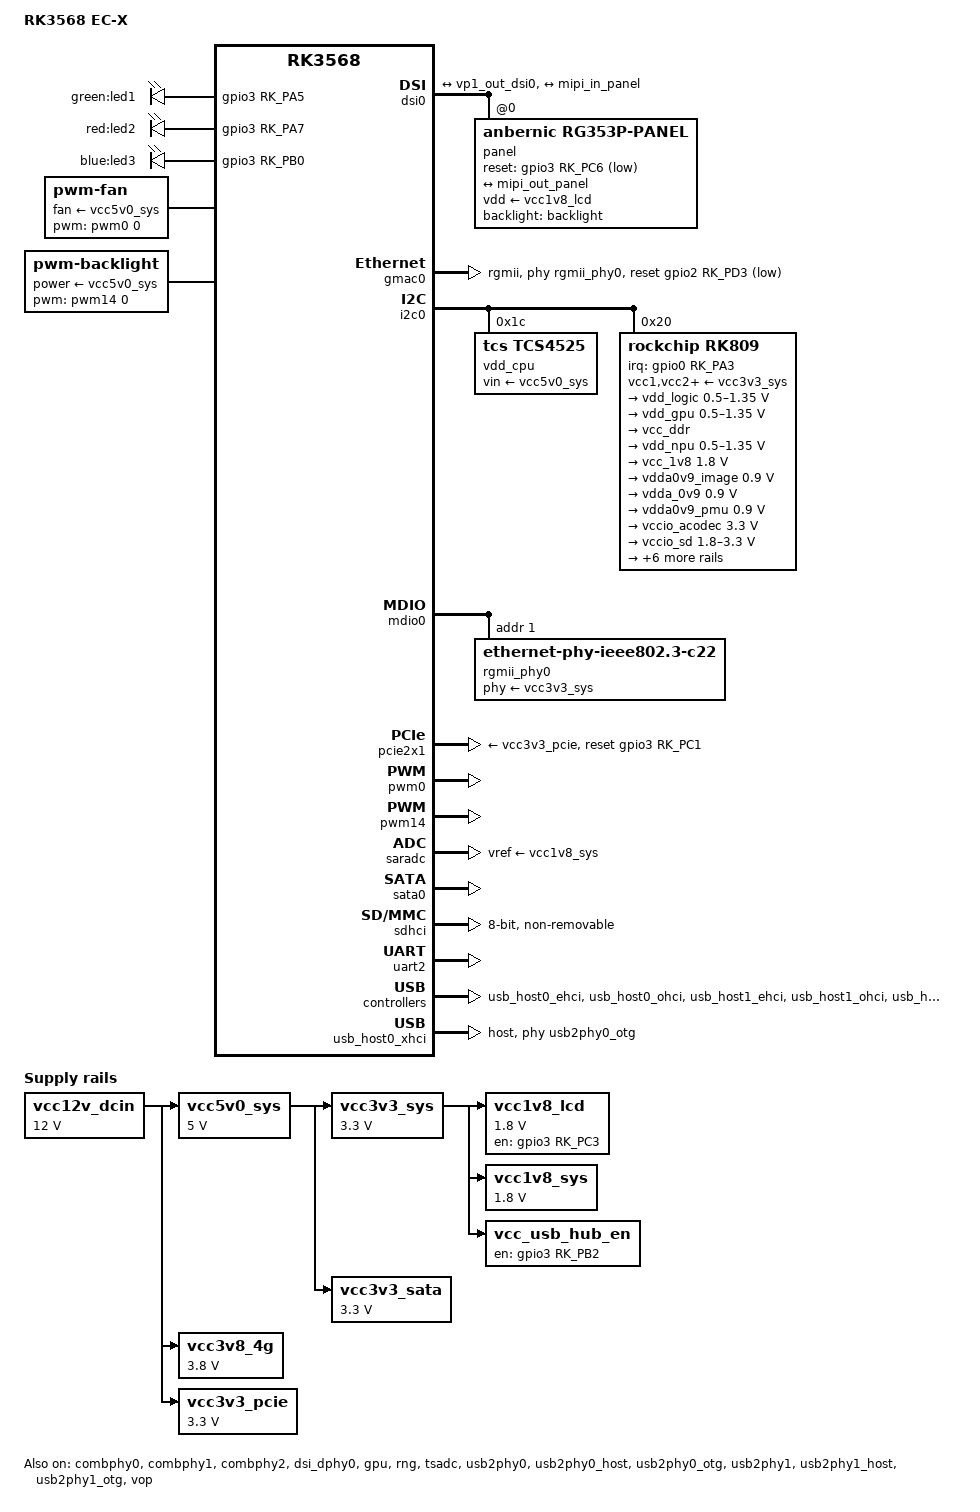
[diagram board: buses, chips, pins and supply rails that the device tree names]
// SPDX-License-Identifier: (GPL-2.0+ OR MIT)
// Copyright (c) 2023 Flippy <flippy@sina.com>

/dts-v1/;

#include <dt-bindings/gpio/gpio.h>
#include <dt-bindings/leds/common.h>
#include <dt-bindings/input/input.h>
#include <dt-bindings/pinctrl/rockchip.h>
#include <dt-bindings/soc/rockchip,vop2.h>
#include "rk3568.dtsi"

/ {
	model = "RK3568 EC-X";
	compatible = "rockchip,ec-x", "rockchip,rk3568";

	aliases {
		ethernet0 = &gmac0;
		mmc0 = &sdhci;
	};

	chosen: chosen {
		bootargs = "earlycon=uart8250,mmio32,0xfe660000 console=ttyS2,1500000";
	};

	reserved_memory: reserved-memory {
		#address-cells = <2>;
		#size-cells = <2>;
		ranges;

		cma: cma {
			compatible = "shared-dma-pool";
			reusable;
			size = <0x0 0x10000000>;
			linux,cma-default;
		};

		ramoops: ramoops@110000 {
			compatible = "ramoops";
			reg = <0x0 0x110000 0x0 0xf0000>;
			record-size = <0x20000>;
			console-size = <0x80000>;
			ftrace-size = <0x00000>;
			pmsg-size = <0x50000>;
		};
	};

	leds: leds {
		compatible = "gpio-leds";
		pinctrl-names = "default";
		pinctrl-0 = <&led_green_en>, <&led_red_en>, <&led_blue_en>;

		led_green: led-green {
			label = "green:led1";
			gpios = <&gpio3 RK_PA5 GPIO_ACTIVE_HIGH>;
		};

		led_red: led-red {
			label = "red:led2";
			gpios = <&gpio3 RK_PA7 GPIO_ACTIVE_HIGH>;
			linux,default-trigger = "heartbeat";
		};

		led_blue: led-blue {
			label = "blue:led3";
			gpios = <&gpio3 RK_PB0 GPIO_ACTIVE_HIGH>;
		};

	};

	vcc12v_dcin: vcc12v-dcin-regulator {
		compatible = "regulator-fixed";
		regulator-name = "vcc12v_dcin";
		regulator-always-on;
		regulator-boot-on;
		regulator-min-microvolt = <12000000>;
		regulator-max-microvolt = <12000000>;
	};

	vcc5v0_sys: vcc5v0-sys-regulator {
		compatible = "regulator-fixed";
		regulator-name = "vcc5v0_sys";
		regulator-always-on;
		regulator-boot-on;
		regulator-min-microvolt = <5000000>;
		regulator-max-microvolt = <5000000>;
		vin-supply = <&vcc12v_dcin>;
	};

	vcc3v8_4g: vcc3v8-4g-regulator {
		compatible = "regulator-fixed";
		regulator-name = "vcc3v8_4g";
		regulator-always-on;
		regulator-boot-on;
		regulator-min-microvolt = <3800000>;
		regulator-max-microvolt = <3800000>;
		vin-supply = <&vcc12v_dcin>;
	};

	vcc3v3_pcie: vcc3v3-pcie-regulator {
		compatible = "regulator-fixed";
		regulator-name = "vcc3v3_pcie";
		regulator-always-on;
		regulator-boot-on;
		regulator-min-microvolt = <3300000>;
		regulator-max-microvolt = <3300000>;
		vin-supply = <&vcc12v_dcin>;
	};

	vcc3v3_sys: vcc3v3-sys-regulator {
		compatible = "regulator-fixed";
		regulator-name = "vcc3v3_sys";
		regulator-always-on;
		regulator-boot-on;
		regulator-min-microvolt = <3300000>;
		regulator-max-microvolt = <3300000>;
		vin-supply = <&vcc5v0_sys>;
	};

	vcc1v8_lcd: vcc1v8-lcd-regulator {
		compatible = "regulator-fixed";
		regulator-name = "vcc1v8_lcd";
		regulator-always-on;
		regulator-boot-on;
		regulator-min-microvolt = <1800000>;
		regulator-max-microvolt = <1800000>;

		enable-active-high;
		gpio = <&gpio3 RK_PC3 GPIO_ACTIVE_HIGH>;
		pinctrl-names = "default";
		pinctrl-0 = <&vcc1v8_lcd_pwren_h>;

		vin-supply = <&vcc3v3_sys>;
	};

	vcc3v3_sata: vcc3v3-sata-regulator {
		compatible = "regulator-fixed";
		regulator-name = "vcc3v3_sata";
		regulator-always-on;
		regulator-boot-on;
		regulator-min-microvolt = <3300000>;
		regulator-max-microvolt = <3300000>;
		vin-supply = <&vcc5v0_sys>;
	};

	vcc1v8_sys: vcc1v8-sys-regulator {
		compatible = "regulator-fixed";
		regulator-name = "vcc1v8_sys";
		regulator-always-on;
		regulator-boot-on;
		regulator-min-microvolt = <1800000>;
		regulator-max-microvolt = <1800000>;
		vin-supply = <&vcc3v3_sys>;
	};

	vcc_usb_hub_en: vcc-usb-hub-en {
		compatible = "regulator-fixed";
		regulator-name = "vcc_usb_hub_en";
		regulator-always-on;
		regulator-boot-on;

		enable-active-high;
		gpio = <&gpio3 RK_PB2 GPIO_ACTIVE_HIGH>;
		pinctrl-names = "default";
		pinctrl-0 = <&vcc_usb_hub_en_h>;

		vin-supply = <&vcc3v3_sys>;
	};

 	fan: pwm-fan {
 		compatible = "pwm-fan";
		cooling-levels = <0 127 163 255>;
 		#cooling-cells = <2>;
 		fan-supply = <&vcc5v0_sys>;
 		pwms = <&pwm0 0 50000 0>;
	};

	backlight: backlight {
		compatible = "pwm-backlight";
		power-supply = <&vcc5v0_sys>;
		max-brightness = <255>;
		pwms = <&pwm14 0 5000000 0>; //250Hz
		post-pwm-on-delay-ms = <10>;
		pwm-off-delay-ms = <10>;
	};
};

/* for sata0 & usb_host0_xhci */
&combphy0 {
	status = "okay";
};

/* for sata1 & usb_host1_xhci */
&combphy1 {
	status = "okay";
};

/* for sata2 & pcie2x1 */
&combphy2 {
	status = "okay";
};

&cpu0 {
	cpu-supply = <&vdd_cpu>;
};

&cpu1 {
	cpu-supply = <&vdd_cpu>;
};

&cpu2 {
	cpu-supply = <&vdd_cpu>;
};

&cpu3 {
	cpu-supply = <&vdd_cpu>;
};

&cpu_thermal {
	trips {
		cpu_cool: cpu_cool {
			temperature = <45000>;
			hysteresis = <2000>;
			type = "active";
		};

		cpu_warm: cpu_warm {
			temperature = <55000>;
			hysteresis = <2000>;
			type = "active";
		};

		cpu_hot: cpu_hot {
			temperature = <65000>;
			hysteresis = <2000>;
			type = "active";
		};
	};

	cooling-maps {
		map1 {
			trip = <&cpu_cool>;
			cooling-device = <&fan THERMAL_NO_LIMIT 1>;
		};

		map2 {
			trip = <&cpu_warm>;
			cooling-device = <&fan 2 THERMAL_NO_LIMIT>;
		};

		map3 {
			trip = <&cpu_hot>;
			cooling-device = <&fan 3 THERMAL_NO_LIMIT>;
		};
	};
};

&dsi_dphy0 {
	status = "okay";
};

&dsi0 {
	status = "okay";
	#address-cells = <1>;
	#size-cells = <0>;

	ports {
		dsi0_in: port@0 {
			reg = <0>;

			dsi0_in_vp1: endpoint {
				remote-endpoint = <&vp1_out_dsi0>;
			};
		};

		dsi0_out: port@1 {
			reg = <1>;

			mipi_out_panel: endpoint {
				remote-endpoint = <&mipi_in_panel>;
			};
		};
	};

	panel: panel@0 {
		compatible = "anbernic,rg353p-panel", "newvision,nv3051d";
		reg = <0>;
		backlight = <&backlight>;
		pinctrl-names = "default";
		pinctrl-0 = <&lcd_reset_en_l>;
		reset-gpios = <&gpio3 RK_PC6 GPIO_ACTIVE_LOW>;
		vdd-supply = <&vcc1v8_lcd>;

		port {
			mipi_in_panel: endpoint {
				remote-endpoint = <&mipi_out_panel>;
			};
		};
	};
};

&gmac0 {
	assigned-clocks = <&cru SCLK_GMAC0_RX_TX>, <&cru SCLK_GMAC0>;
	assigned-clock-parents = <&cru SCLK_GMAC0_RGMII_SPEED>;
	assigned-clock-rates = <0>, <125000000>;
	pinctrl-names = "default";
	pinctrl-0 = <&gmac0_miim
		     &gmac0_tx_bus2
		     &gmac0_rx_bus2
		     &gmac0_rgmii_clk
		     &gmac0_rgmii_bus>;

	clock_in_out = "input";
	phy-mode = "rgmii";
	tx_delay = <0x34>;
	rx_delay = <0x2e>;

	snps,reset-gpio = <&gpio2 RK_PD3 GPIO_ACTIVE_LOW>;
	snps,reset-active-low;
	snps,reset-delays-us = <0 50000 200000>;
	phy-handle = <&rgmii_phy0>;

	status = "okay";
};

&gpu {
	mali-supply = <&vdd_gpu>;
	status = "okay";
};

&i2c0 {
	status = "okay";

	vdd_cpu: regulator@1c {
		compatible = "tcs,tcs4525";
		reg = <0x1c>;
		fcs,suspend-voltage-selector = <1>;
		regulator-name = "vdd_cpu";
		regulator-always-on;
		regulator-boot-on;
		regulator-min-microvolt = <800000>;
		regulator-max-microvolt = <1150000>;
		regulator-ramp-delay = <2300>;
		vin-supply = <&vcc5v0_sys>;

		regulator-state-mem {
			regulator-off-in-suspend;
		};
	};

	rk809: pmic@20 {
		compatible = "rockchip,rk809";
		reg = <0x20>;

		interrupt-parent = <&gpio0>;
		interrupts = <RK_PA3 IRQ_TYPE_LEVEL_LOW>;

		assigned-clocks = <&cru I2S1_MCLKOUT_TX>;
		assigned-clock-parents = <&cru CLK_I2S1_8CH_TX>;
		#sound-dai-cells = <0>;

		#clock-cells = <1>;
		clock-names = "mclk";
		clocks = <&cru I2S1_MCLKOUT_TX>;

		pinctrl-names = "default";
		pinctrl-0 = <&pmic_int>, <&i2s1m0_mclk>;

		rockchip,system-power-controller;
		wakeup-source;

		vcc1-supply = <&vcc3v3_sys>;
		vcc2-supply = <&vcc3v3_sys>;
		vcc3-supply = <&vcc3v3_sys>;
		vcc4-supply = <&vcc3v3_sys>;
		vcc5-supply = <&vcc3v3_sys>;
		vcc6-supply = <&vcc3v3_sys>;
		vcc7-supply = <&vcc3v3_sys>;
		vcc8-supply = <&vcc3v3_sys>;
		vcc9-supply = <&vcc3v3_sys>;

		pwrkey {
			status = "okay";
		};

		pinctrl_rk8xx: pinctrl_rk8xx {
			gpio-controller;
			#gpio-cells = <2>;

			rk817_slppin_null: rk817_slppin_null {
				pins = "gpio_slp";
				function = "pin_fun0";
			};

			rk817_slppin_slp: rk817_slppin_slp {
				pins = "gpio_slp";
				function = "pin_fun1";
			};

			rk817_slppin_pwrdn: rk817_slppin_pwrdn {
				pins = "gpio_slp";
				function = "pin_fun2";
			};

			rk817_slppin_rst: rk817_slppin_rst {
				pins = "gpio_slp";
				function = "pin_fun3";
			};
		};

		regulators {
			vdd_logic: DCDC_REG1 {
				regulator-name = "vdd_logic";
				regulator-always-on;
				regulator-boot-on;
				regulator-init-microvolt = <900000>;
				regulator-initial-mode = <0x2>;
				regulator-min-microvolt = <500000>;
				regulator-max-microvolt = <1350000>;
				regulator-ramp-delay = <6001>;

				regulator-state-mem {
					regulator-off-in-suspend;
				};
			};

			vdd_gpu: DCDC_REG2 {
				regulator-name = "vdd_gpu";
				regulator-always-on;
				regulator-init-microvolt = <900000>;
				regulator-initial-mode = <0x2>;
				regulator-min-microvolt = <500000>;
				regulator-max-microvolt = <1350000>;
				regulator-ramp-delay = <6001>;

				regulator-state-mem {
					regulator-off-in-suspend;
				};
			};

			vcc_ddr: DCDC_REG3 {
				regulator-name = "vcc_ddr";
				regulator-always-on;
				regulator-boot-on;
				regulator-initial-mode = <0x2>;

				regulator-state-mem {
					regulator-on-in-suspend;
				};
			};

			vdd_npu: DCDC_REG4 {
				regulator-name = "vdd_npu";
				regulator-init-microvolt = <900000>;
				regulator-initial-mode = <0x2>;
				regulator-min-microvolt = <500000>;
				regulator-max-microvolt = <1350000>;
				regulator-ramp-delay = <6001>;

				regulator-state-mem {
					regulator-off-in-suspend;
				};
			};

			vcc_1v8: DCDC_REG5 {
				regulator-name = "vcc_1v8";
				regulator-always-on;
				regulator-boot-on;
				regulator-min-microvolt = <1800000>;
				regulator-max-microvolt = <1800000>;

				regulator-state-mem {
					regulator-off-in-suspend;
				};
			};

			vdda0v9_image: LDO_REG1 {
				regulator-name = "vdda0v9_image";
				regulator-min-microvolt = <900000>;
				regulator-max-microvolt = <900000>;

				regulator-state-mem {
					regulator-off-in-suspend;
				};
			};

			vdda_0v9: LDO_REG2 {
				regulator-name = "vdda_0v9";
				regulator-always-on;
				regulator-boot-on;
				regulator-min-microvolt = <900000>;
				regulator-max-microvolt = <900000>;

				regulator-state-mem {
					regulator-off-in-suspend;
				};
			};

			vdda0v9_pmu: LDO_REG3 {
				regulator-name = "vdda0v9_pmu";
				regulator-always-on;
				regulator-boot-on;
				regulator-min-microvolt = <900000>;
				regulator-max-microvolt = <900000>;

				regulator-state-mem {
					regulator-on-in-suspend;
					regulator-suspend-microvolt = <900000>;
				};
			};

			vccio_acodec: LDO_REG4 {
				regulator-name = "vccio_acodec";
				regulator-always-on;
				regulator-min-microvolt = <3300000>;
				regulator-max-microvolt = <3300000>;

				regulator-state-mem {
					regulator-off-in-suspend;
				};
			};

			vccio_sd: LDO_REG5 {
				regulator-name = "vccio_sd";
				regulator-min-microvolt = <1800000>;
				regulator-max-microvolt = <3300000>;

				regulator-state-mem {
					regulator-off-in-suspend;
				};
			};

			vcc3v3_pmu: LDO_REG6 {
				regulator-name = "vcc3v3_pmu";
				regulator-always-on;
				regulator-boot-on;
				regulator-min-microvolt = <3300000>;
				regulator-max-microvolt = <3300000>;

				regulator-state-mem {
					regulator-on-in-suspend;
					regulator-suspend-microvolt = <3300000>;
				};
			};

			vcca_1v8: LDO_REG7 {
				regulator-name = "vcca_1v8";
				regulator-always-on;
				regulator-boot-on;
				regulator-min-microvolt = <1800000>;
				regulator-max-microvolt = <1800000>;

				regulator-state-mem {
					regulator-off-in-suspend;
				};
			};

			vcca1v8_pmu: LDO_REG8 {
				regulator-name = "vcca1v8_pmu";
				regulator-always-on;
				regulator-boot-on;
				regulator-min-microvolt = <1800000>;
				regulator-max-microvolt = <1800000>;

				regulator-state-mem {
					regulator-on-in-suspend;
					regulator-suspend-microvolt = <1800000>;
				};
			};

			vcca1v8_image: LDO_REG9 {
				regulator-name = "vcca1v8_image";
				regulator-min-microvolt = <1800000>;
				regulator-max-microvolt = <1800000>;

				regulator-state-mem {
					regulator-off-in-suspend;
				};
			};

			vcc_3v3: SWITCH_REG1 {
				regulator-name = "vcc_3v3";
				regulator-always-on;
				regulator-boot-on;

				regulator-state-mem {
					regulator-off-in-suspend;
				};
			};

			vcc3v3_sd: SWITCH_REG2 {
				regulator-name = "vcc3v3_sd";

				regulator-state-mem {
					regulator-off-in-suspend;
				};
			};
		};
	};
};

&mdio0 {
	rgmii_phy0: ethernet-phy@1 {
		compatible = "ethernet-phy-ieee802.3-c22";
		phy-supply = <&vcc3v3_sys>;
		reg = <0x1>;
	};
};

/* Mini PCIE */
&pcie2x1 {
	reset-gpios = <&gpio3 RK_PC1 GPIO_ACTIVE_HIGH>;
	vpcie3v3-supply = <&vcc3v3_pcie>;
	status = "okay";
};

&pinctrl {
	leds {
		led_green_en: led-green-en {
			rockchip,pins = <3 RK_PA5 RK_FUNC_GPIO &pcfg_pull_none>;
		};

		led_red_en: led-red-en {
			rockchip,pins = <3 RK_PA7 RK_FUNC_GPIO &pcfg_pull_none>;
		};

		led_blue_en: led-blue-en {
			rockchip,pins = <3 RK_PB0 RK_FUNC_GPIO &pcfg_pull_none>;
		};
	};

	lcd {
		vcc1v8_lcd_pwren_h: vcc18vrlcd-pwren-h {
			rockchip,pins = <3 RK_PC3 RK_FUNC_GPIO &pcfg_pull_none>;
		};

		lcd_reset_en_l: lcd-reset-en-l {
			rockchip,pins = <3 RK_PC6 RK_FUNC_GPIO &pcfg_pull_none>;
		};
	};

	pmic {
		pmic_int: pmic-int {
			rockchip,pins = <0 RK_PA3 RK_FUNC_GPIO &pcfg_pull_up>;
		};
	};

	usb {
		vcc_usb_hub_en_h: vcc-usb-hub-en-h {
			rockchip,pins = <3 RK_PB2 RK_FUNC_GPIO &pcfg_pull_none>;
		};
	};
};

&pmu_io_domains {
	pmuio1-supply = <&vcc3v3_pmu>;
	pmuio2-supply = <&vcc3v3_pmu>;
	vccio1-supply = <&vccio_acodec>;
	vccio2-supply = <&vcc_1v8>;
	vccio3-supply = <&vccio_sd>;
	vccio4-supply = <&vcc_1v8>;
	vccio5-supply = <&vcc_3v3>;
	vccio6-supply = <&vcc_1v8>;
	vccio7-supply = <&vcc_3v3>;
	status = "okay";
};

&pwm0 {
	status = "okay";
};

&pwm14 {
	status = "okay";
};

&rng {
	status = "okay";
};

&saradc {
	vref-supply = <&vcc1v8_sys>;
	status = "okay";
};

/* M.2 NGFF */
&sata0 {
	status = "okay";
	target-supply = <&vcc3v3_sata>;
};

&sdhci {
	bus-width = <8>;
	max-frequency = <200000000>;
	non-removable;
	pinctrl-names = "default";
	pinctrl-0 = <&emmc_bus8 &emmc_clk &emmc_cmd &emmc_datastrobe>;
	status = "okay";
};

&tsadc {
	rockchip,hw-tshut-mode = <1>;
	rockchip,hw-tshut-polarity = <0>;
	status = "okay";
};

&uart2 {
	status = "okay";
};

&usb_host0_ehci {
	status = "okay";
};

&usb_host0_ohci {
	status = "okay";
};

&usb_host0_xhci {
	status = "okay";
	dr_mode = "host";
	phys = <&usb2phy0_otg>;
	phy-names = "usb2-phy";
	extcon = <&usb2phy0>;
	maximum-speed = "high-speed";
};

&usb_host1_ehci {
	status = "okay";
};

&usb_host1_ohci {
	status = "okay";
};

&usb_host1_xhci {
	status = "okay";
};

&usb2phy0 {
	status = "okay";
};

&usb2phy0_host {
	status = "okay";
};

&usb2phy0_otg {
	status = "okay";
};

&usb2phy1 {
	status = "okay";
};

&usb2phy1_host {
	status = "okay";
};

&usb2phy1_otg {
	status = "okay";
};

&vop {
	assigned-clocks = <&cru DCLK_VOP0>, <&cru DCLK_VOP1>;
	assigned-clock-parents = <&pmucru PLL_HPLL>, <&cru PLL_VPLL>;
	status = "okay";
};

&vop_mmu {
	status = "okay";
};

&vp1 {
	vp1_out_dsi0: endpoint@ROCKCHIP_VOP2_EP_MIPI0 {
		reg = <ROCKCHIP_VOP2_EP_MIPI0>;
		remote-endpoint = <&dsi0_in_vp1>;
	};
};
